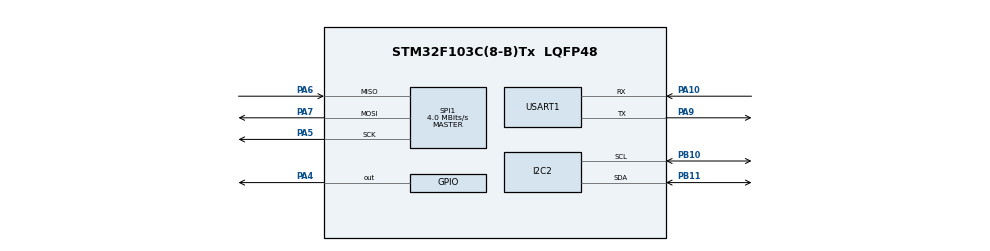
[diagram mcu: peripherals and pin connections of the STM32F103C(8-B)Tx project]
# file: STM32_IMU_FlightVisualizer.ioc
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Mcu.Family=STM32F1
Mcu.Name=STM32F103C(8-B)Tx
Mcu.Package=LQFP48
NVIC.PriorityGroup=NVIC_PRIORITYGROUP_4
PA10.Mode=Asynchronous
PA10.Signal=USART1_RX
PA13.Mode=Serial_Wire
PA13.Signal=SYS_JTMS-SWDIO
PA14.Mode=Serial_Wire
PA14.Signal=SYS_JTCK-SWCLK
PA4.PinState=GPIO_PIN_SET
PA4.Signal=GPIO_Output
PA5.Mode=Full_Duplex_Master
PA5.Signal=SPI1_SCK
PA6.Mode=Full_Duplex_Master
PA6.Signal=SPI1_MISO
PA7.Mode=Full_Duplex_Master
PA7.Signal=SPI1_MOSI
PA9.Mode=Asynchronous
PA9.Signal=USART1_TX
PB10.Mode=I2C
PB10.Signal=I2C2_SCL
PB11.Mode=I2C
PB11.Signal=I2C2_SDA
PD0-OSC_IN.Mode=HSE-External-Oscillator
PD0-OSC_IN.Signal=RCC_OSC_IN
PD1-OSC_OUT.Mode=HSE-External-Oscillator
PD1-OSC_OUT.Signal=RCC_OSC_OUT
ProjectManager.HeapSize=0x200
ProjectManager.StackSize=0x400
ProjectManager.TargetToolchain=STM32CubeIDE
RCC.APB1Freq_Value=8000000
RCC.APB2Freq_Value=8000000
SPI1.CalculateBaudRate=4.0 MBits/s
SPI1.Direction=SPI_DIRECTION_2LINES
SPI1.Mode=SPI_MODE_MASTER
SPI1.VirtualType=VM_MASTER
USART1.VirtualMode=VM_ASYNC
board=custom

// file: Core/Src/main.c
/* USER CODE BEGIN Header */
/**
 ******************************************************************************
 * @file           : main.c
 * @brief          : Main program body
 ******************************************************************************
 * @attention
 *
 * Copyright (c) 2026 STMicroelectronics.
 * All rights reserved.
 *
 * This software is licensed under terms that can be found in the LICENSE file
 * in the root directory of this software component.
 * If no LICENSE file comes with this software, it is provided AS-IS.
 *
 ******************************************************************************
 */
/* USER CODE END Header */
#include "main.h"

/* USER CODE BEGIN Includes */
#include <math.h>
#include <stdio.h>
#include <string.h>
#include "lcd_i2c.h"
/* USER CODE END Includes */

/* USER CODE BEGIN PTD */
#define MPU6500_CS_LOW() HAL_GPIO_WritePin(GPIOA, GPIO_PIN_4, GPIO_PIN_RESET)

#define MPU6500_CS_HIGH() HAL_GPIO_WritePin(GPIOA, GPIO_PIN_4, GPIO_PIN_SET)

#define RAD_TO_DEG 57.2957795f
/* USER CODE END PTD */

I2C_HandleTypeDef hi2c2;

SPI_HandleTypeDef hspi1;

UART_HandleTypeDef huart1;

/* USER CODE BEGIN PV */
/* USER CODE BEGIN PV */

/* ============================================================
 * MPU6500 sensor values
 * ============================================================ */

float accel_x_g = 0.0f;
float accel_y_g = 0.0f;
float accel_z_g = 0.0f;

float gyro_x_dps = 0.0f;
float gyro_y_dps = 0.0f;
float gyro_z_dps = 0.0f;

/* ============================================================
 * Gyroscope calibration offsets
 * ============================================================ */

float gyro_x_offset = 0.0f;
float gyro_y_offset = 0.0f;
float gyro_z_offset = 0.0f;

/* ============================================================
 * Accelerometer calculated angles
 * ============================================================ */

float roll_accel = 0.0f;
float pitch_accel = 0.0f;

/* ============================================================
 * Fused attitude
 *
 * These are the actual filter outputs.
 * ============================================================ */

float roll_fused = 0.0f;
float pitch_fused = 0.0f;
float yaw = 0.0f;

/* ============================================================
 * Master zero offsets
 *
 * STM32 owns the attitude reference.
 * ============================================================ */

float roll_zero_offset = 0.0f;
float pitch_zero_offset = 0.0f;
float yaw_zero_offset = 0.0f;

/* ============================================================
 * Final/canonical attitude
 *
 * These exact values go to:
 * 1. UART
 * 2. Physical LCD
 * 3. Python GUI
 * ============================================================ */

float roll_display = 0.0f;
float pitch_display = 0.0f;
float yaw_display = 0.0f;

/* ============================================================
 * Timing
 * ============================================================ */

uint32_t previous_tick = 0;
uint32_t lcd_previous_tick = 0;

/* ============================================================
 * UART
 * ============================================================ */

char uart_buffer[100];

uint8_t uart_rx_byte = 0;

/* ============================================================
 * LCD
 * ============================================================ */

char lcd_line1[17];
char lcd_line2[17];

char lcd_uart_buffer[64];

/* ============================================================
 * Device status
 * ============================================================ */

uint8_t mpu_who_am_i = 0;

/* USER CODE END PV */

/* USER CODE END PV */

void SystemClock_Config(void);
static void MX_GPIO_Init(void);
static void MX_SPI1_Init(void);
static void MX_USART1_UART_Init(void);
static void MX_I2C2_Init(void);

/* USER CODE BEGIN 0 */
/* USER CODE BEGIN 0 */
/* USER CODE BEGIN 0 */

/* ============================================================
 * MPU6500 READ SINGLE REGISTER
 * ============================================================ */

uint8_t MPU6500_ReadRegister(uint8_t reg) {
  uint8_t tx[2];
  uint8_t rx[2];

  tx[0] = reg | 0x80;
  tx[1] = 0x00;

  MPU6500_CS_LOW();

  HAL_SPI_TransmitReceive(&hspi1, tx, rx, 2, HAL_MAX_DELAY);

  MPU6500_CS_HIGH();

  return rx[1];
}

/* ============================================================
 * MPU6500 WRITE SINGLE REGISTER
 * ============================================================ */

void MPU6500_WriteRegister(uint8_t reg, uint8_t data) {
  uint8_t tx[2];

  tx[0] = reg & 0x7F;
  tx[1] = data;

  MPU6500_CS_LOW();

  HAL_SPI_Transmit(&hspi1, tx, 2, HAL_MAX_DELAY);

  MPU6500_CS_HIGH();
}

/* ============================================================
 * MPU6500 BURST READ
 * ============================================================ */

void MPU6500_ReadBurst(uint8_t start_reg, uint8_t *buffer, uint8_t length) {
  uint8_t address;

  address = start_reg | 0x80;

  MPU6500_CS_LOW();

  HAL_SPI_Transmit(&hspi1, &address, 1, HAL_MAX_DELAY);

  HAL_SPI_Receive(&hspi1, buffer, length, HAL_MAX_DELAY);

  MPU6500_CS_HIGH();
}

/* ============================================================
 * READ ACCELEROMETER + GYROSCOPE
 * ============================================================ */

void MPU6500_ReadSensor(void) {
  uint8_t data[14];

  int16_t accel_x_raw;
  int16_t accel_y_raw;
  int16_t accel_z_raw;

  int16_t gyro_x_raw;
  int16_t gyro_y_raw;
  int16_t gyro_z_raw;

  MPU6500_ReadBurst(0x3B, data, 14);

  accel_x_raw = (int16_t)(((uint16_t)data[0] << 8) | data[1]);

  accel_y_raw = (int16_t)(((uint16_t)data[2] << 8) | data[3]);

  accel_z_raw = (int16_t)(((uint16_t)data[4] << 8) | data[5]);

  gyro_x_raw = (int16_t)(((uint16_t)data[8] << 8) | data[9]);

  gyro_y_raw = (int16_t)(((uint16_t)data[10] << 8) | data[11]);

  gyro_z_raw = (int16_t)(((uint16_t)data[12] << 8) | data[13]);

  /*
   * MPU6500 default accelerometer range:
   * +/-2g
   *
   * scale = 16384 LSB/g
   */

  accel_x_g = (float)accel_x_raw / 16384.0f;

  accel_y_g = (float)accel_y_raw / 16384.0f;

  accel_z_g = (float)accel_z_raw / 16384.0f;

  /*
   * MPU6500 default gyro range:
   * +/-250 deg/s
   *
   * scale = 131 LSB/(deg/s)
   */

  gyro_x_dps = (float)gyro_x_raw / 131.0f;

  gyro_y_dps = (float)gyro_y_raw / 131.0f;

  gyro_z_dps = (float)gyro_z_raw / 131.0f;
}

/* ============================================================
 * GYROSCOPE CALIBRATION
 *
 * Keep the board completely still during calibration.
 * ============================================================ */

void MPU6500_CalibrateGyro(void) {
  float sum_x = 0.0f;
  float sum_y = 0.0f;
  float sum_z = 0.0f;

  for (int i = 0; i < 500; i++) {
    MPU6500_ReadSensor();

    sum_x += gyro_x_dps;
    sum_y += gyro_y_dps;
    sum_z += gyro_z_dps;

    HAL_Delay(5);
  }

  gyro_x_offset = sum_x / 500.0f;

  gyro_y_offset = sum_y / 500.0f;

  gyro_z_offset = sum_z / 500.0f;
}

/* ============================================================
 * SET CURRENT ATTITUDE AS ZERO
 *
 * This is now the only place where zero reference is created.
 * ============================================================ */

void Attitude_SetZero(void) {
  roll_zero_offset = roll_fused;

  pitch_zero_offset = pitch_fused;

  yaw_zero_offset = yaw;
}

/* ============================================================
 * CALCULATE FINAL DISPLAY ATTITUDE
 * ============================================================ */

void Attitude_UpdateDisplayValues(void) {
  roll_display = roll_fused - roll_zero_offset;

  pitch_display = pitch_fused - pitch_zero_offset;

  yaw_display = yaw - yaw_zero_offset;
}

/* ============================================================
 * CHECK COMMANDS RECEIVED FROM PYTHON
 *
 * Python sends:
 *
 * Z = set current attitude as zero
 * ============================================================ */

void UART_CheckCommands(void) {
  if (__HAL_UART_GET_FLAG(&huart1, UART_FLAG_RXNE) != RESET) {
    if (HAL_UART_Receive(&huart1, &uart_rx_byte, 1, 1) == HAL_OK) {
      if (uart_rx_byte == 'Z' || uart_rx_byte == 'z') {
        Attitude_SetZero();
      }
    }
  }
}

/* ============================================================
 * SEND ATTITUDE TELEMETRY TO PYTHON
 * ============================================================ */

void UART_SendAttitude(void) {
  int len;

  len = snprintf(uart_buffer, sizeof(uart_buffer), "ROLL:%.2f,PITCH:%.2f,YAW:%.2f\r\n",
                 roll_display, pitch_display, yaw_display);

  HAL_UART_Transmit(&huart1, (uint8_t *)uart_buffer, len, 100);
}

/* ============================================================
 * UPDATE PHYSICAL 16x2 LCD
 *
 * Also sends the exact same two LCD lines to Python.
 * ============================================================ */

void LCD_UpdateAttitude(void) {
  /*
   * Each physical LCD row can show maximum 16 characters.
   *
   * Example:
   *
   * R:+12.4 P: -3.2
   * Y: +25.1 IMU OK
   */

  snprintf(lcd_line1, sizeof(lcd_line1), "R:%+5.1f P:%+5.1f", roll_display, pitch_display);

  snprintf(lcd_line2, sizeof(lcd_line2), "Y:%+6.1f IMU OK", yaw_display);

  /* --------------------------------------------------------
   * Physical LCD - row 1
   * -------------------------------------------------------- */

  LCD_SetCursor(0, 0);

  LCD_SendString("                ");

  LCD_SetCursor(0, 0);

  LCD_SendString(lcd_line1);

  /* --------------------------------------------------------
   * Physical LCD - row 2
   * -------------------------------------------------------- */

  LCD_SetCursor(1, 0);

  LCD_SendString("                ");

  LCD_SetCursor(1, 0);

  LCD_SendString(lcd_line2);

  /* --------------------------------------------------------
   * Send same physical LCD line 1 to Python
   * -------------------------------------------------------- */

  snprintf(lcd_uart_buffer, sizeof(lcd_uart_buffer), "LCD1:%s\r\n", lcd_line1);

  HAL_UART_Transmit(&huart1, (uint8_t *)lcd_uart_buffer, strlen(lcd_uart_buffer), 100);

  /* --------------------------------------------------------
   * Send same physical LCD line 2 to Python
   * -------------------------------------------------------- */

  snprintf(lcd_uart_buffer, sizeof(lcd_uart_buffer), "LCD2:%s\r\n", lcd_line2);

  HAL_UART_Transmit(&huart1, (uint8_t *)lcd_uart_buffer, strlen(lcd_uart_buffer), 100);
}

/* USER CODE END 0 */

/* USER CODE END 0 */

int main(void) {

  /* MCU Configuration--------------------------------------------------------*/

  /* Reset of all peripherals, Initializes the Flash interface and the Systick. */
  HAL_Init();

  /* Configure the system clock */
  SystemClock_Config();

  /* Initialize all configured peripherals */
  MX_GPIO_Init();
  MX_SPI1_Init();
  MX_USART1_UART_Init();
  MX_I2C2_Init();

  /* USER CODE BEGIN 2 */

  /* ============================================================
   * MPU6500 INITIALIZATION
   * ============================================================ */

  MPU6500_CS_HIGH();

  HAL_Delay(100);

  /*
   * WHO_AM_I register = 0x75
   *
   * MPU6500 expected value = 0x70
   */

  mpu_who_am_i = MPU6500_ReadRegister(0x75);

  /*
   * Wake MPU6500
   *
   * PWR_MGMT_1 register = 0x6B
   * 0x00 = wake up
   */

  MPU6500_WriteRegister(0x6B, 0x00);

  HAL_Delay(100);

  /* ============================================================
   * LCD INITIALIZATION
   * ============================================================ */

  LCD_Init(&hi2c2);

  LCD_Clear();

  LCD_SetCursor(0, 0);

  LCD_SendString("STM32 IMU");

  LCD_SetCursor(1, 0);

  LCD_SendString("CALIBRATING...");

  /* ============================================================
   * GYRO CALIBRATION
   *
   * Keep sensor completely still for approximately 3 seconds.
   * ============================================================ */

  MPU6500_CalibrateGyro();

  /* ============================================================
   * INITIAL ATTITUDE
   * ============================================================ */

  MPU6500_ReadSensor();

  roll_accel = atan2f(accel_y_g, accel_z_g) * RAD_TO_DEG;

  pitch_accel = atan2f(-accel_x_g,

                       sqrtf(accel_y_g * accel_y_g + accel_z_g * accel_z_g)) *
                RAD_TO_DEG;

  /*
   * Start complementary filter from
   * accelerometer orientation.
   */

  roll_fused = roll_accel;

  pitch_fused = pitch_accel;

  yaw = 0.0f;

  /*
   * Startup physical position becomes
   * initial system zero.
   */

  Attitude_SetZero();

  Attitude_UpdateDisplayValues();

  /* ============================================================
   * READY MESSAGE
   * ============================================================ */

  LCD_Clear();

  LCD_SetCursor(0, 0);

  LCD_SendString("STM32 IMU READY");

  LCD_SetCursor(1, 0);

  LCD_SendString("SPI UART I2C OK");

  HAL_Delay(1200);

  LCD_Clear();

  /* ============================================================
   * START TIMERS
   * ============================================================ */

  previous_tick = HAL_GetTick();

  lcd_previous_tick = HAL_GetTick();

  /* USER CODE END 2 */

  /* USER CODE BEGIN WHILE */

  while (1) {
    uint32_t current_tick;

    float dt;

    float gyro_x_corrected;
    float gyro_y_corrected;
    float gyro_z_corrected;

    /* ========================================================
     * READ TIME
     * ======================================================== */

    current_tick = HAL_GetTick();

    /* ========================================================
     * READ MPU6500
     * ======================================================== */

    MPU6500_ReadSensor();

    /* ========================================================
     * REMOVE GYRO STATIC OFFSET
     * ======================================================== */

    gyro_x_corrected = gyro_x_dps - gyro_x_offset;

    gyro_y_corrected = gyro_y_dps - gyro_y_offset;

    gyro_z_corrected = gyro_z_dps - gyro_z_offset;

    /* ========================================================
     * LOOP TIME
     * ======================================================== */

    dt = (current_tick - previous_tick) / 1000.0f;

    previous_tick = current_tick;

    /*
     * Protect against invalid timing
     * during debugger pauses/startup.
     */

    if (dt <= 0.0f || dt > 0.1f) {
      dt = 0.02f;
    }

    /* ========================================================
     * ACCELEROMETER ROLL
     * ======================================================== */

    roll_accel = atan2f(accel_y_g, accel_z_g) * RAD_TO_DEG;

    /* ========================================================
     * ACCELEROMETER PITCH
     * ======================================================== */

    pitch_accel = atan2f(-accel_x_g,

                         sqrtf(accel_y_g * accel_y_g + accel_z_g * accel_z_g)) *
                  RAD_TO_DEG;

    /* ========================================================
     * COMPLEMENTARY FILTER - ROLL
     * ======================================================== */

    roll_fused = 0.98f * (roll_fused + gyro_x_corrected * dt) + 0.02f * roll_accel;

    /* ========================================================
     * COMPLEMENTARY FILTER - PITCH
     * ======================================================== */

    pitch_fused = 0.98f * (pitch_fused + gyro_y_corrected * dt) + 0.02f * pitch_accel;

    /* ========================================================
     * YAW
     *
     * MPU6500 has no magnetometer.
     * Therefore yaw is gyro integration only and can drift.
     * ======================================================== */

    yaw += gyro_z_corrected * dt;

    /* ========================================================
     * CHECK FOR ZERO COMMAND FROM PYTHON
     * ======================================================== */

    UART_CheckCommands();

    /* ========================================================
     * APPLY MASTER ZERO REFERENCE
     * ======================================================== */

    Attitude_UpdateDisplayValues();

    /* ========================================================
     * SEND ATTITUDE TO PYTHON
     *
     * Approx sensor loop = 50 Hz
     * ======================================================== */

    UART_SendAttitude();

    /* ========================================================
     * UPDATE 16x2 LCD EVERY 200 ms
     *
     * 5 Hz is enough for a human-readable display.
     * ======================================================== */

    if (current_tick - lcd_previous_tick >= 200) {
      lcd_previous_tick = current_tick;

      LCD_UpdateAttitude();
    }

    /* ========================================================
     * APPROX 50 Hz SENSOR LOOP
     * ======================================================== */

    HAL_Delay(20);

    /* USER CODE END WHILE */

    /* USER CODE BEGIN 3 */
  }
}
void SystemClock_Config(void) {
  RCC_OscInitTypeDef RCC_OscInitStruct = {0};
  RCC_ClkInitTypeDef RCC_ClkInitStruct = {0};

  /** Initializes the RCC Oscillators according to the specified parameters
   * in the RCC_OscInitTypeDef structure.
   */
  RCC_OscInitStruct.OscillatorType = RCC_OSCILLATORTYPE_HSI;
  RCC_OscInitStruct.HSIState = RCC_HSI_ON;
  RCC_OscInitStruct.HSICalibrationValue = RCC_HSICALIBRATION_DEFAULT;
  RCC_OscInitStruct.PLL.PLLState = RCC_PLL_NONE;
  if (HAL_RCC_OscConfig(&RCC_OscInitStruct) != HAL_OK) {
    Error_Handler();
  }

  /** Initializes the CPU, AHB and APB buses clocks
   */
  RCC_ClkInitStruct.ClockType =
      RCC_CLOCKTYPE_HCLK | RCC_CLOCKTYPE_SYSCLK | RCC_CLOCKTYPE_PCLK1 | RCC_CLOCKTYPE_PCLK2;
  RCC_ClkInitStruct.SYSCLKSource = RCC_SYSCLKSOURCE_HSI;
  RCC_ClkInitStruct.AHBCLKDivider = RCC_SYSCLK_DIV1;
  RCC_ClkInitStruct.APB1CLKDivider = RCC_HCLK_DIV1;
  RCC_ClkInitStruct.APB2CLKDivider = RCC_HCLK_DIV1;

  if (HAL_RCC_ClockConfig(&RCC_ClkInitStruct, FLASH_LATENCY_0) != HAL_OK) {
    Error_Handler();
  }
}

static void MX_I2C2_Init(void) {

  hi2c2.Instance = I2C2;
  hi2c2.Init.ClockSpeed = 100000;
  hi2c2.Init.DutyCycle = I2C_DUTYCYCLE_2;
  hi2c2.Init.OwnAddress1 = 0;
  hi2c2.Init.AddressingMode = I2C_ADDRESSINGMODE_7BIT;
  hi2c2.Init.DualAddressMode = I2C_DUALADDRESS_DISABLE;
  hi2c2.Init.OwnAddress2 = 0;
  hi2c2.Init.GeneralCallMode = I2C_GENERALCALL_DISABLE;
  hi2c2.Init.NoStretchMode = I2C_NOSTRETCH_DISABLE;
  if (HAL_I2C_Init(&hi2c2) != HAL_OK) {
    Error_Handler();
  }
}

static void MX_SPI1_Init(void) {

  /* SPI1 parameter configuration*/
  hspi1.Instance = SPI1;
  hspi1.Init.Mode = SPI_MODE_MASTER;
  hspi1.Init.Direction = SPI_DIRECTION_2LINES;
  hspi1.Init.DataSize = SPI_DATASIZE_8BIT;
  hspi1.Init.CLKPolarity = SPI_POLARITY_LOW;
  hspi1.Init.CLKPhase = SPI_PHASE_1EDGE;
  hspi1.Init.NSS = SPI_NSS_SOFT;
  hspi1.Init.BaudRatePrescaler = SPI_BAUDRATEPRESCALER_2;
  hspi1.Init.FirstBit = SPI_FIRSTBIT_MSB;
  hspi1.Init.TIMode = SPI_TIMODE_DISABLE;
  hspi1.Init.CRCCalculation = SPI_CRCCALCULATION_DISABLE;
  hspi1.Init.CRCPolynomial = 10;
  if (HAL_SPI_Init(&hspi1) != HAL_OK) {
    Error_Handler();
  }
}

static void MX_USART1_UART_Init(void) {

  huart1.Instance = USART1;
  huart1.Init.BaudRate = 115200;
  huart1.Init.WordLength = UART_WORDLENGTH_8B;
  huart1.Init.StopBits = UART_STOPBITS_1;
  huart1.Init.Parity = UART_PARITY_NONE;
  huart1.Init.Mode = UART_MODE_TX_RX;
  huart1.Init.HwFlowCtl = UART_HWCONTROL_NONE;
  huart1.Init.OverSampling = UART_OVERSAMPLING_16;
  if (HAL_UART_Init(&huart1) != HAL_OK) {
    Error_Handler();
  }
}

static void MX_GPIO_Init(void) {
  GPIO_InitTypeDef GPIO_InitStruct = {0};

  /* GPIO Ports Clock Enable */
  __HAL_RCC_GPIOD_CLK_ENABLE();
  __HAL_RCC_GPIOA_CLK_ENABLE();
  __HAL_RCC_GPIOB_CLK_ENABLE();

  /*Configure GPIO pin Output Level */
  HAL_GPIO_WritePin(GPIOA, GPIO_PIN_4, GPIO_PIN_SET);

  /*Configure GPIO pin : PA4 */
  GPIO_InitStruct.Pin = GPIO_PIN_4;
  GPIO_InitStruct.Mode = GPIO_MODE_OUTPUT_PP;
  GPIO_InitStruct.Pull = GPIO_NOPULL;
  GPIO_InitStruct.Speed = GPIO_SPEED_FREQ_LOW;
  HAL_GPIO_Init(GPIOA, &GPIO_InitStruct);

}

void Error_Handler(void) {
  __disable_irq();
  while (1) {
  }
}
